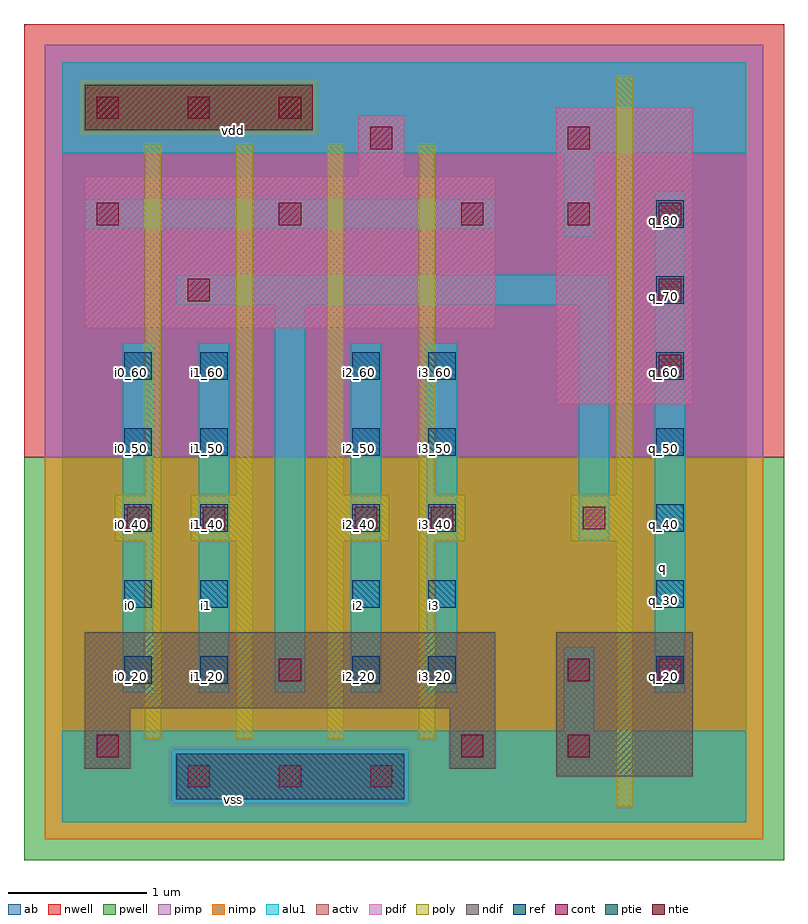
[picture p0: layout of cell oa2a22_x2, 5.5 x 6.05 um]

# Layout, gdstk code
import gdstk
lib = gdstk.Library(unit=1e-6, precision=2.5e-09)
def R(c, l, rs):  # rectangles x0, y0, x1, y1
    for r in rs: c.add(gdstk.rectangle(r[:2], r[2:], *l))
def A(c, l, x, y, w, h, nx, ny, dx, dy):  # array of equal rectangles
    R(c, l, [(x+i*dx, y+j*dy, x+i*dx+w, y+j*dy+h) for i in range(nx) for j in range(ny)])
ndif = (3, 0)
pdif = (4, 0)
ntie = (5, 0)
ptie = (6, 0)
ref = (24, 0)
cont = (25, 0)
pwell = (41, 0)
nwell = (42, 0)
activ = (43, 0)
pimp = (44, 0)
nimp = (45, 0)
poly = (46, 0)
alu1 = (49, 0)
ab = (63, 0)

oa2a22_x2 = lib.new_cell('oa2a22_x2')
R(oa2a22_x2, ndif, [(3.575,0.33,4.565,1.375), (0.165,0.385,0.495,0.825), (2.805,0.385,3.135,0.825), (0.165,0.825,3.135,1.375)])
R(oa2a22_x2, pdif, [(3.575,3.025,4.565,5.17), (0.165,3.575,3.135,4.675), (2.145,4.675,2.475,5.115)])
R(oa2a22_x2, ntie, [(0.165,5.005,1.815,5.335)])
R(oa2a22_x2, ptie, [(0.825,0.165,2.475,0.495)])
A(oa2a22_x2, ref, 0.45, 1, 0.2, 0.2, 1, 5, 0, 0.55)
A(oa2a22_x2, ref, 1, 1, 0.2, 0.2, 1, 5, 0, 0.55)
A(oa2a22_x2, ref, 2.1, 1, 0.2, 0.2, 1, 5, 0, 0.55)
A(oa2a22_x2, ref, 2.65, 1, 0.2, 0.2, 1, 5, 0, 0.55)
A(oa2a22_x2, ref, 4.3, 1, 0.2, 0.2, 1, 7, 0, 0.55)
A(oa2a22_x2, cont, 0.91, 0.25, 0.16, 0.16, 3, 1, 0.66, 0)
A(oa2a22_x2, cont, 4.32, 3.22, 0.16, 0.16, 1, 3, 0, 0.55)
A(oa2a22_x2, cont, 0.25, 4.32, 0.16, 0.16, 3, 1, 1.32, 0)
A(oa2a22_x2, cont, 0.25, 5.09, 0.16, 0.16, 3, 1, 0.66, 0)
R(oa2a22_x2, cont, [(0.25,0.47,0.41,0.63), (2.89,0.47,3.05,0.63), (3.66,0.47,3.82,0.63), (1.57,1.02,1.73,1.18), (3.66,1.02,3.82,1.18), (4.32,1.02,4.48,1.18), (0.47,2.12,0.63,2.28), (1.02,2.12,1.18,2.28), (2.12,2.12,2.28,2.28), (2.67,2.12,2.83,2.28), (3.77,2.12,3.93,2.28), (0.91,3.77,1.07,3.93), (3.66,4.32,3.82,4.48), (2.23,4.87,2.39,5.03), (3.66,4.87,3.82,5.03)])
R(oa2a22_x2, pwell, [(-0.275,-0.275,5.225,2.64)])
R(oa2a22_x2, nwell, [(-0.275,2.64,5.225,5.775)])
R(oa2a22_x2, activ, [(0.825,0.165,2.475,0.495), (3.575,0.33,4.565,1.375), (0.165,0.385,0.495,0.825), (2.805,0.385,3.135,0.825), (0.165,0.825,3.135,1.375), (3.575,3.025,4.565,5.17), (0.165,3.575,3.135,4.675), (2.145,4.675,2.475,5.115), (0.165,5.005,1.815,5.335)])
R(oa2a22_x2, pimp, [(0.785,0.125,2.515,0.535), (-0.125,2.64,5.075,4.965), (-0.125,4.965,0.125,5.375), (1.855,4.965,5.075,5.375), (-0.125,5.375,5.075,5.625)])
R(oa2a22_x2, nimp, [(-0.125,-0.125,5.075,0.125), (-0.125,0.125,0.785,0.535), (2.515,0.125,5.075,0.535), (-0.125,0.535,5.075,2.64), (0.125,4.965,1.855,5.375)])
A(oa2a22_x2, poly, 0.6, 0.6, 0.12, 1.43, 4, 1, 0.66, 0)
A(oa2a22_x2, poly, 0.6, 2.37, 0.12, 2.53, 4, 1, 0.66, 0)
R(oa2a22_x2, poly, [(4.01,0.105,4.13,2.03), (0.38,2.03,0.72,2.37), (0.93,2.03,1.38,2.37), (1.92,2.03,2.37,2.37), (2.58,2.03,2.92,2.37), (3.68,2.03,4.13,2.37), (4.01,2.37,4.13,5.395)])
R(oa2a22_x2, alu1, [(0,0,4.95,0.66), (3.63,0.66,3.85,1.265), (0.44,0.935,0.66,3.465), (0.99,0.935,1.21,3.465), (1.54,0.935,1.76,3.74), (2.09,0.935,2.31,3.465), (2.64,0.935,2.86,3.465), (4.29,0.935,4.51,4.565), (3.74,2.035,3.96,3.74), (0.825,3.74,3.96,3.96), (3.63,4.235,3.85,4.84), (0.165,4.29,3.135,4.51), (0,4.84,4.95,5.5)])
R(oa2a22_x2, ab, [(0,0,4.95,5.5)])
oa2a22_x2.add(gdstk.Label('vss', (1.2375,0.165), layer=49, texttype=0))
oa2a22_x2.add(gdstk.Label('q', (4.345,1.8425), layer=49, texttype=0))
oa2a22_x2.add(gdstk.Label('i3', (2.695,1.5675), layer=49, texttype=0))
oa2a22_x2.add(gdstk.Label('i2', (2.145,1.5675), layer=49, texttype=0))
oa2a22_x2.add(gdstk.Label('i1', (1.045,1.5675), layer=49, texttype=0))
oa2a22_x2.add(gdstk.Label('i0', (0.495,1.5675), layer=49, texttype=0))
oa2a22_x2.add(gdstk.Label('vdd', (1.2375,5.005), layer=49, texttype=0))
oa2a22_x2.add(gdstk.Label('i3_20', (2.7,1.05), layer=24, texttype=0))
oa2a22_x2.add(gdstk.Label('i3_30', (2.7,1.6), layer=24, texttype=0))
oa2a22_x2.add(gdstk.Label('i3_40', (2.7,2.15), layer=24, texttype=0))
oa2a22_x2.add(gdstk.Label('i3_50', (2.7,2.7), layer=24, texttype=0))
oa2a22_x2.add(gdstk.Label('i3_60', (2.7,3.25), layer=24, texttype=0))
oa2a22_x2.add(gdstk.Label('i2_60', (2.15,3.25), layer=24, texttype=0))
oa2a22_x2.add(gdstk.Label('i2_50', (2.15,2.7), layer=24, texttype=0))
oa2a22_x2.add(gdstk.Label('i2_40', (2.15,2.15), layer=24, texttype=0))
oa2a22_x2.add(gdstk.Label('i2_30', (2.15,1.6), layer=24, texttype=0))
oa2a22_x2.add(gdstk.Label('i2_20', (2.15,1.05), layer=24, texttype=0))
oa2a22_x2.add(gdstk.Label('i1_20', (1.05,1.05), layer=24, texttype=0))
oa2a22_x2.add(gdstk.Label('i1_30', (1.05,1.6), layer=24, texttype=0))
oa2a22_x2.add(gdstk.Label('i1_40', (1.05,2.15), layer=24, texttype=0))
oa2a22_x2.add(gdstk.Label('i1_50', (1.05,2.7), layer=24, texttype=0))
oa2a22_x2.add(gdstk.Label('i1_60', (1.05,3.25), layer=24, texttype=0))
oa2a22_x2.add(gdstk.Label('i0_60', (0.5,3.25), layer=24, texttype=0))
oa2a22_x2.add(gdstk.Label('i0_50', (0.5,2.7), layer=24, texttype=0))
oa2a22_x2.add(gdstk.Label('i0_40', (0.5,2.15), layer=24, texttype=0))
oa2a22_x2.add(gdstk.Label('i0_30', (0.5,1.6), layer=24, texttype=0))
oa2a22_x2.add(gdstk.Label('i0_20', (0.5,1.05), layer=24, texttype=0))
oa2a22_x2.add(gdstk.Label('q_80', (4.35,4.35), layer=24, texttype=0))
oa2a22_x2.add(gdstk.Label('q_70', (4.35,3.8), layer=24, texttype=0))
oa2a22_x2.add(gdstk.Label('q_60', (4.35,3.25), layer=24, texttype=0))
oa2a22_x2.add(gdstk.Label('q_40', (4.35,2.15), layer=24, texttype=0))
oa2a22_x2.add(gdstk.Label('q_20', (4.35,1.05), layer=24, texttype=0))
oa2a22_x2.add(gdstk.Label('q_30', (4.35,1.6), layer=24, texttype=0))
oa2a22_x2.add(gdstk.Label('q_50', (4.35,2.7), layer=24, texttype=0))

lib.write_gds('oa2a22_x2.gds')
